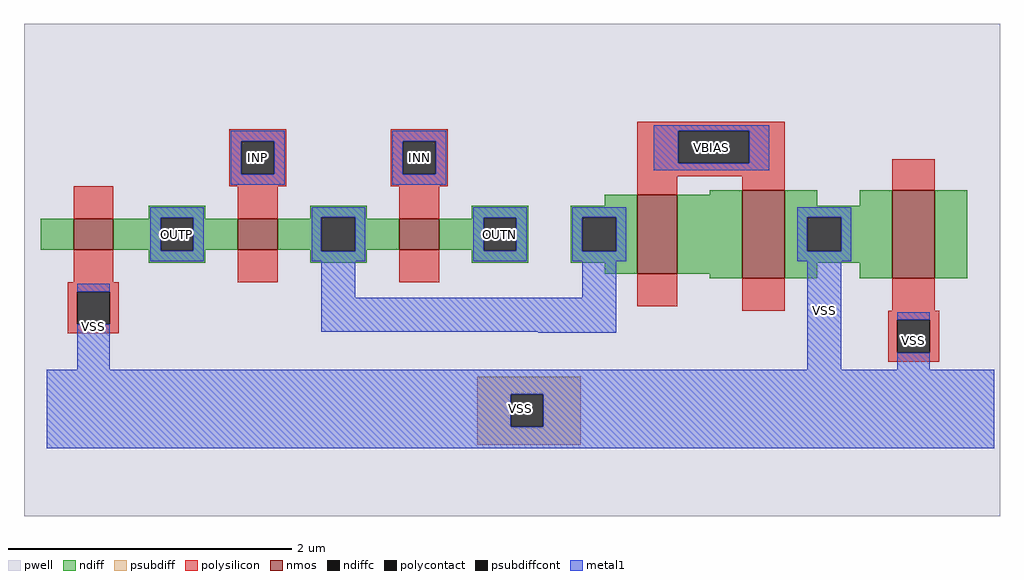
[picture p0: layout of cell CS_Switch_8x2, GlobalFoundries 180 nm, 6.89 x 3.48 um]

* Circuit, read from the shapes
.subckt CS_Switch_8x2 INP INN OUTP OUTN VBIAS VSS
XM1 OUTP VSS n1 VSS nfet_03v3 w=0.22u l=0.28u
XM2 n2 INP OUTP VSS nfet_03v3 w=0.22u l=0.28u
XM3 OUTN INN n2 VSS nfet_03v3 w=0.22u l=0.28u
XM4 n3 VBIAS n2 VSS nfet_03v3 w=0.56u l=0.28u
XM5 VSS VBIAS n3 VSS nfet_03v3 w=0.62u l=0.3u
XM6 n4 VSS VSS VSS nfet_03v3 w=0.62u l=0.3u
.ends

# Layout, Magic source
magic
tech gf180mcuD
magscale 1 10
<< pwell >>
rect 426 1024 1804 1719
<< nmos >>
rect 496 1400 552 1444
rect 728 1400 784 1444
rect 956 1400 1012 1444
rect 1292 1366 1348 1478
rect 1440 1360 1500 1484
rect 1652 1360 1712 1484
<< ndiff >>
rect 602 1445 682 1462
rect 602 1444 619 1445
rect 450 1400 496 1444
rect 552 1400 619 1444
rect 602 1399 619 1400
rect 665 1444 682 1445
rect 830 1446 910 1462
rect 830 1444 846 1446
rect 665 1400 728 1444
rect 784 1400 846 1444
rect 665 1399 682 1400
rect 602 1382 682 1399
rect 830 1398 846 1400
rect 894 1444 910 1446
rect 1394 1478 1440 1484
rect 1246 1462 1292 1478
rect 1058 1445 1138 1462
rect 1058 1444 1075 1445
rect 894 1400 956 1444
rect 1012 1400 1075 1444
rect 894 1398 910 1400
rect 830 1382 910 1398
rect 1058 1399 1075 1400
rect 1121 1399 1138 1445
rect 1058 1382 1138 1399
rect 1198 1446 1292 1462
rect 1198 1398 1214 1446
rect 1262 1398 1292 1446
rect 1198 1382 1292 1398
rect 1246 1366 1292 1382
rect 1348 1366 1440 1478
rect 1394 1360 1440 1366
rect 1500 1462 1546 1484
rect 1606 1462 1652 1484
rect 1500 1446 1652 1462
rect 1500 1398 1532 1446
rect 1580 1398 1652 1446
rect 1500 1382 1652 1398
rect 1500 1360 1546 1382
rect 1606 1360 1652 1382
rect 1712 1360 1758 1484
<< ndiffc >>
rect 619 1399 665 1445
rect 846 1398 894 1446
rect 1075 1399 1121 1445
rect 1214 1398 1262 1446
rect 1532 1398 1580 1446
<< psubdiff >>
rect 1066 1196 1212 1221
rect 1066 1150 1113 1196
rect 1159 1150 1212 1196
rect 1066 1125 1212 1150
<< psubdiffcont >>
rect 1113 1150 1159 1196
<< polysilicon >>
rect 716 1553 796 1570
rect 716 1507 733 1553
rect 779 1507 796 1553
rect 716 1490 796 1507
rect 944 1553 1024 1570
rect 944 1507 961 1553
rect 1007 1507 1024 1553
rect 944 1490 1024 1507
rect 1292 1568 1500 1581
rect 1292 1522 1350 1568
rect 1450 1522 1500 1568
rect 1292 1504 1500 1522
rect 496 1444 552 1490
rect 496 1354 552 1400
rect 728 1444 784 1490
rect 728 1354 784 1400
rect 956 1444 1012 1490
rect 1292 1478 1348 1504
rect 1440 1484 1500 1504
rect 1652 1484 1712 1528
rect 956 1354 1012 1400
rect 488 1341 560 1354
rect 488 1295 501 1341
rect 547 1295 560 1341
rect 1292 1320 1348 1366
rect 1440 1314 1500 1360
rect 1652 1314 1712 1360
rect 488 1282 560 1295
rect 1646 1301 1718 1314
rect 1646 1255 1659 1301
rect 1705 1255 1718 1301
rect 1646 1242 1718 1255
<< polycontact >>
rect 733 1507 779 1553
rect 961 1507 1007 1553
rect 1350 1522 1450 1568
rect 501 1295 547 1341
rect 1659 1255 1705 1301
<< metal1 >>
rect 1315 1568 1478 1576
rect 718 1553 794 1568
rect 718 1507 733 1553
rect 779 1507 794 1553
rect 718 1492 794 1507
rect 946 1553 1022 1568
rect 946 1507 961 1553
rect 1007 1507 1022 1553
rect 1315 1522 1350 1568
rect 1450 1522 1478 1568
rect 1315 1512 1478 1522
rect 946 1492 1022 1507
rect 604 1445 680 1460
rect 604 1399 619 1445
rect 665 1399 680 1445
rect 604 1384 680 1399
rect 832 1446 908 1460
rect 832 1398 846 1446
rect 894 1398 908 1446
rect 832 1384 908 1398
rect 1060 1445 1136 1460
rect 1060 1399 1075 1445
rect 1121 1399 1136 1445
rect 1060 1384 1136 1399
rect 1200 1446 1276 1460
rect 1200 1398 1214 1446
rect 1262 1398 1276 1446
rect 1200 1384 1276 1398
rect 1518 1446 1594 1460
rect 1518 1398 1532 1446
rect 1580 1398 1594 1446
rect 1518 1384 1594 1398
rect 501 1341 547 1352
rect 501 1231 547 1295
rect 846 1332 894 1384
rect 1214 1332 1262 1384
rect 846 1284 1262 1332
rect 1152 1283 1262 1284
rect 1532 1231 1580 1384
rect 1659 1301 1705 1312
rect 1659 1231 1705 1255
rect 458 1196 1796 1231
rect 458 1150 1113 1196
rect 1159 1150 1796 1196
rect 458 1120 1796 1150
<< labels >>
flabel metal1 1315 1512 1478 1576 1 FreeSans 400 0 0 0 VBIAS
port 5 nsew power bidirectional
flabel metal1 718 1492 794 1568 1 FreeSans 400 0 0 0 INP
port 1 n
flabel metal1 946 1492 1022 1568 1 FreeSans 400 0 0 0 INN
port 2 n
flabel metal1 604 1384 680 1460 1 FreeSans 400 0 0 0 OUTP
port 3 n
flabel metal1 1060 1384 1136 1460 1 FreeSans 400 0 0 0 OUTN
port 4 n
flabel metal1 458 1120 1796 1231 1 FreeSans 400 0 0 0 VSS
port 6 n
rlabel metal1 501 1231 547 1352 1 VSS
port 6 n
rlabel metal1 1532 1231 1580 1398 1 VSS
port 6 n
rlabel metal1 1659 1231 1705 1312 1 VSS
port 6 n
<< end >>
